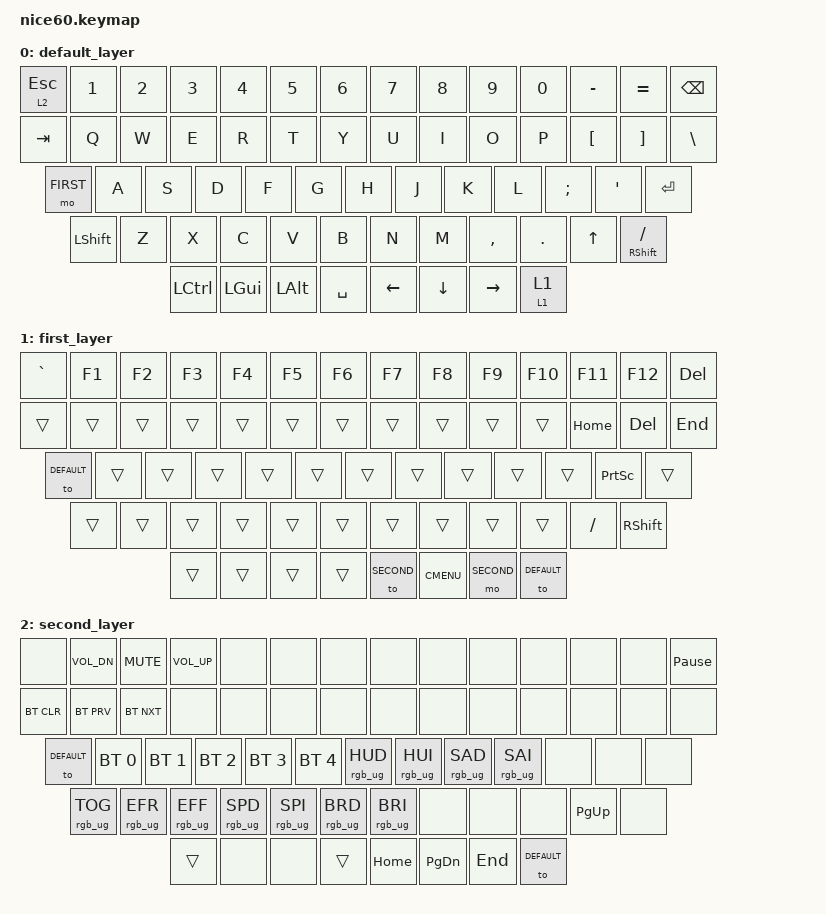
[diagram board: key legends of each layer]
/*
 * Copyright (c) 2021 Nick Winans
 *
 * SPDX-License-Identifier: MIT
 */

#include <behaviors.dtsi>
#include <dt-bindings/zmk/keys.h>
#include <dt-bindings/zmk/rgb.h>
#include <dt-bindings/zmk/bt.h>
#include <dt-bindings/zmk/outputs.h>
#include <dt-bindings/zmk/reset.h>
#include <dt-bindings/zmk/ext_power.h>

#include <dt-bindings/zmk/behaviors.h>
#include <behaviors.dtsi>

// from https://zmk.dev/docs/keymaps/behaviors/hold-tap?examples=mo_tog#custom-hold-tap-configuration
// see tab Tog-Tap, Mo-Hold Layers

#define TT(layer) &tt layer layer   // Macro to apply momentary-layer-on-hold/turn-layer-on-tap to a specific layer

#define DEFAULT 0
#define FIRST 1
#define SECOND 2

// from https://zmk.dev/docs/features/lighting#rgb-underglow
&led_strip {
    chain-length = <12>;
};
/ {
        /*
          add my own tt layer_tap to work similar as QMK TT()
          hold is to turn on layer and tap it to toggle layer
        */
        behaviors {
            tt: behavior_tt {
                compatible = "zmk,behavior-hold-tap";
                #binding-cells = <2>;
                flavor = "tap-preferred";
                tapping-term-ms = <150>;
                bindings = <&mo>, <&to>;
            };
        };
            keymap {
                compatible = "zmk,keymap";

                default_layer {
// ------------------------------------------------------------------------------------------
// | ESC |  1  |  2  |  3  |  4  |  5  |  6  |  7  |  8  |  9  |  0  |  -  |  =  |   BKSP   |
// | TAB  |  Q  |  W  |  E  |  R  |  T  |  Y  |  U  |  I  |  O  |  P  |  [  |  ]  |   "|"   |
// | MO(1) |  A  |  S  |  D  |  F  |  G  |  H  |  J  |  K  |  L  |  ;  |  '  |     ENTER    |
// |  SHIFT  |  Z  |  X  |  C  |  V  |  B  |  N  |  M  |  ,  |  .  |  UP  |   MT(SHIFT,/)   |
// |  CTRL |  WIN  |  ALT  |            SPACE            |  LEFT  |  DOWN  |  RIGHT | TT(1) |
// ------------------------------------------------------------------------------------------
                        bindings = <
        &lt 2 ESC &kp N1 &kp N2 &kp N3 &kp N4 &kp N5 &kp N6 &kp N7 &kp N8 &kp N9 &kp N0 &kp MINUS &kp EQUAL &kp BSPC
        &kp TAB  &kp Q  &kp W  &kp E  &kp R  &kp T  &kp Y  &kp U  &kp I  &kp O  &kp P  &kp LBKT  &kp RBKT   &kp BSLH
        &mo FIRST &kp A  &kp S  &kp D  &kp F  &kp G  &kp H  &kp J  &kp K  &kp L  &kp SEMI &kp SQT            &kp RET
        &kp LSHFT   &kp Z  &kp X  &kp C  &kp V  &kp B  &kp N  &kp M  &kp COMMA &kp DOT &kp UP         &mt RSHFT FSLH
        &kp LCTRL &kp LGUI &kp LALT               &kp SPACE              &kp LEFT  &kp DOWN &kp RIGHT        &tt 1 1
                        >;
                };

                first_layer {
// ------------------------------------------------------------------------------------------
// |  `~  |  F1  | F2  | F3  | F4  | F5  | F6  | F7  | F8  | F9  | F10  | F11 | F12  |  DEL  |
// | TAB  |  Q  |  W  |  E  |  R  |  T  |  Y  |  U  |  I  |  O  |  P  |  HOME  |  DEL  | END |
// | TO(0) |  A  |  S  |  D  |  F  |  G  |  H  |  J  |  K  |  L  |  ;  |  PRTSC  |   ENTER   |
// |  SHIFT  |  Z  |  X  |  C  |  V  |  B  |  N  |  M  |  ,  |  .  |   /   |      SHIFT      |
// |  CTRL |  WIN  |  ALT  |            SPACE             |  TO(2)  |  MENU  | MO(2) | TO(0) |
// ------------------------------------------------------------------------------------------
                        bindings = <
        &kp GRAVE &kp F1 &kp F2 &kp F3 &kp F4 &kp F5 &kp F6 &kp F7 &kp F8 &kp F9 &kp F10 &kp F11 &kp F12   &kp DEL
        &trans &trans &trans &trans &trans &trans &trans &trans &trans &trans &trans    &kp HOME  &kp DEL  &kp END
        &to DEFAULT  &trans &trans &trans &trans &trans &trans &trans &trans &trans &trans    &kp PSCRN     &trans
        &trans   &trans &trans &trans &trans &trans &trans &trans &trans &trans    &kp FSLH              &kp RSHFT
        &trans &trans &trans               &trans                    &to SECOND &kp K_CMENU &mo SECOND &to DEFAULT
                        >;

                };

                second_layer {
// -------------------------------------------------------------------------------------------------------------
// |  ?  |  VOL DOWN  | MUTE  | VOL UP                | ?  | ?  | ?  | ?  | ?  | ?  | ?  | ? | ?  | PAUSE-BREAK |
// | BT-CLR  |  BT-PREV  |  BT-NEXT                |  ?  | ?  | ?  | ?  | ?  | ?  | ?  | ? |  ?  |  ?  |   ?    |
// | TO(0) |  BT-1  |  BT-2  |  BT-3  |  BT-4  |  BT-5  | UG-HUE- | UG-HEU+ | UG-SAT- | UG-SAT+ | ? | ? |   ?   |
// | UG-ON-OFF | UG-PREV | UG-NEXT | UG-SLOW | UG-FAST | UG-DARK | UG-LGHT | ? |  ? |  ? | PAGE-UP   |    ?     |
// |  CTRL     |  ?      |  ?      |                   SPACE                    | HOME | PAGE-DOWN | END | TO(0)|
// -------------------------------------------------------------------------------------------------------------
                        bindings = <
        &none    &kp C_VOL_DN &kp C_MUTE  &kp C_VOL_UP                                               &none &none &none &none &none &none &none &none &none  &kp PAUSE_BREAK
        &bt BT_CLR &bt BT_PRV   &bt BT_NXT                                                               &none &none &none &none &none &none &none &none &none &none  &none
        &to DEFAULT &bt BT_SEL 0 &bt BT_SEL 1 &bt BT_SEL 2 &bt BT_SEL 3 &bt BT_SEL 4  &rgb_ug RGB_HUD &rgb_ug RGB_HUI &rgb_ug RGB_SAD &rgb_ug RGB_SAI  &none &none    &none
        &rgb_ug RGB_TOG &rgb_ug RGB_EFR &rgb_ug RGB_EFF &rgb_ug RGB_SPD &rgb_ug RGB_SPI &rgb_ug RGB_BRD &rgb_ug RGB_BRI &none &none &none    &kp PG_UP                &none
        &trans &none &none                                        &trans                                                           &kp HOME  &kp PG_DN  &kp END &to DEFAULT
                        >;

                };
        };
};
